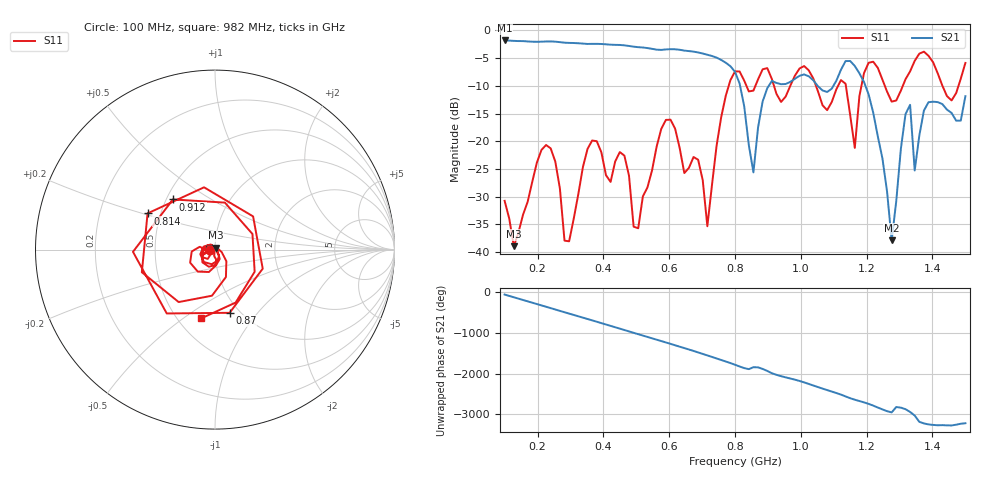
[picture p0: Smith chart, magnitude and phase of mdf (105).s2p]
! NanoVNA-App
! Date: 2025-09-25 15:39:14
! Start: 100MHz Stop: 1,5GHz Points: 101
! S-Parameter data: F S11 S21 S12 S22
# Hz S RI R 50
!  Frequency  S11_Real  S11_Imag  S21_Real  S21_Imag  S12_Real  S12_Imag  S22_Real  S22_Imag
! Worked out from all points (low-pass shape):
!   101 points, 100 MHz to 1.5 GHz, reference 50 ohm
!   highest |S21| = -1.80 dB at 100 MHz (marker M1); lowest = -37.9 dB at 1.276 GHz (marker M2)
!   |S21| within 3 dB of the highest: start of sweep to 739.3 MHz
!   lowest |S11| = -39.0 dB at 128 MHz (marker M3), VSWR 1.02, Z = 50.3 + j1.08 ohm
!   |S11| at or under -10 dB: start of sweep to 780.9 MHz; 1.046 GHz to 1.113 GHz (67.19 MHz wide, 6.22 % of centre); 1.255 GHz to 1.31 GHz (54.69 MHz wide, 4.26 % of centre) (the widest 3 of 7)
!   S12 and S22 are empty: the file has one direction only
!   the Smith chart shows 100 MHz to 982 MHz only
!   S11 on the Smith chart (normalised r, x): 100 MHz: 0.94, -0.01; 814 MHz: 0.42, +0.21; 870 MHz: 0.90, -0.73; 912 MHz: 0.54, +0.35; 982 MHz: 0.65, -0.59
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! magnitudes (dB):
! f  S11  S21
! 100 MHz  -30.8  -1.8
! 128 MHz  -39.0  -1.9
! 212 MHz  -21.6  -2.0
! 282 MHz  -38.0  -2.2
! 338 MHz  -24.6  -2.4
! 464 MHz  -22.6  -2.7
! 506 MHz  -35.7  -3.0
! 576 MHz  -17.8  -3.5
! 716 MHz  -35.4  -4.4
! 800 MHz  -7.4  -7.5
! 814 MHz  -7.4  -9.6
! 856 MHz  -10.9  -25.6
! 870 MHz  -8.8  -17.6
! 912 MHz  -8.8  -9.1
! 982 MHz  -8.2  -8.7
! 1.038 GHz  -8.7  -9.0
! 1.164 GHz  -21.2  -6.4
! 1.192 GHz  -7.7  -9.3
! 1.276 GHz  -12.9  -37.9
! 1.332 GHz  -7.4  -13.4
! 1.346 GHz  -5.5  -25.3
! 1.5 GHz  -5.9  -11.9
